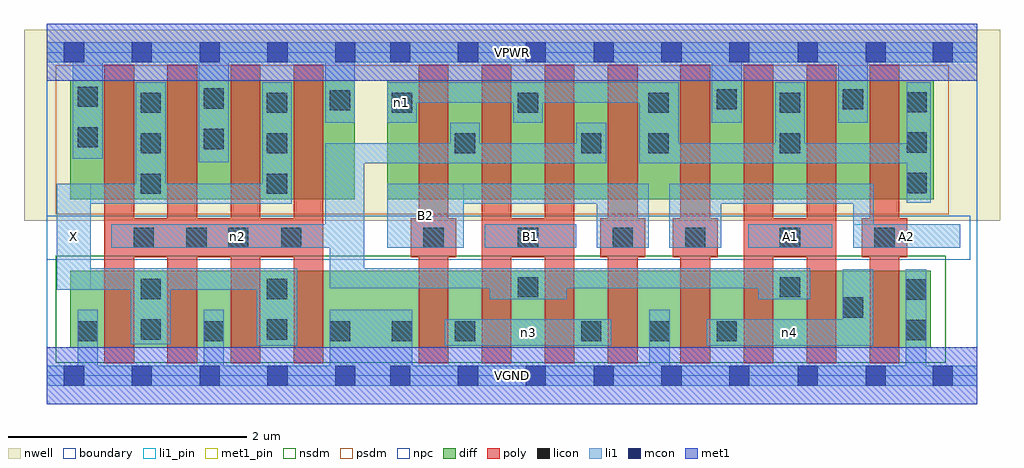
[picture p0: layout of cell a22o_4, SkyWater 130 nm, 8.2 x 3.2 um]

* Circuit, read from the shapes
.subckt a22o_4 A1 A2 B1 B2 VGND VPWR X n1 n2 n3 n4
XM1 X n2 VGND VSUBS sky130_fd_pr__nfet_01v8 w=0.65 l=0.25 m=4
XM2 n3 B2 VGND VSUBS sky130_fd_pr__nfet_01v8 w=0.65 l=0.25 m=2
XM3 n2 B1 n3 VSUBS sky130_fd_pr__nfet_01v8 w=0.65 l=0.25 m=2
XM4 n4 A2 VGND VSUBS sky130_fd_pr__nfet_01v8 w=0.65 l=0.25 m=2
XM5 n2 A1 n4 VSUBS sky130_fd_pr__nfet_01v8 w=0.65 l=0.25 m=2
XM6 X n2 VPWR n5 sky130_fd_pr__pfet_01v8 w=1 l=0.25 m=4
XM7 n2 B2 n1 n5 sky130_fd_pr__pfet_01v8 w=1 l=0.25 m=2
XM8 n1 B1 n2 n5 sky130_fd_pr__pfet_01v8 w=1 l=0.25 m=2
XM9 VPWR A2 n1 n5 sky130_fd_pr__pfet_01v8 w=1 l=0.25 m=2
XM10 n1 A1 VPWR n5 sky130_fd_pr__pfet_01v8 w=1 l=0.25 m=2
.ends

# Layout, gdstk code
import gdstk
lib = gdstk.Library(unit=1e-6, precision=1e-09)
def R(c, l, rs):  # rectangles x0, y0, x1, y1
    for r in rs: c.add(gdstk.rectangle(r[:2], r[2:], *l))
def A(c, l, x, y, w, h, nx, ny, dx, dy):  # array of equal rectangles
    R(c, l, [(x+i*dx, y+j*dy, x+i*dx+w, y+j*dy+h) for i in range(nx) for j in range(ny)])
nwell = (64, 20)
diff = (65, 20)
poly = (66, 20)
licon = (66, 44)
li1_pin = (67, 16)
li1 = (67, 20)
mcon = (67, 44)
met1_pin = (68, 16)
met1 = (68, 20)
nsdm = (93, 44)
psdm = (94, 20)
npc = (95, 20)
boundary = (235, 4)

a22o_4 = lib.new_cell('a22o_4')
R(a22o_4, nwell, [(-0.19,1.305,8.01,2.91), (0,1.305,7.82,2.91)])
R(a22o_4, diff, [(0.2,0.235,7.43,0.885), (0.2,1.485,2.59,2.485), (2.86,1.485,7.455,2.485)])
A(a22o_4, poly, 0.485, 0.105, 0.25, 2.51, 4, 1, 0.53, 0)
A(a22o_4, poly, 3.125, 0.105, 0.25, 2.51, 4, 1, 0.53, 0)
A(a22o_4, poly, 5.325, 0.105, 0.25, 2.51, 4, 1, 0.53, 0)
R(a22o_4, poly, [(0.485,0.995,2.325,1.325), (3.06,0.995,3.44,1.325), (3.655,0.995,4.435,1.325), (4.65,0.995,5.03,1.325), (5.26,0.995,5.64,1.325), (5.855,0.995,6.635,1.325), (6.85,0.995,7.23,1.325)])
A(a22o_4, licon, 0.26, 0.29, 0.17, 0.17, 3, 1, 1.06, 0)
A(a22o_4, licon, 3.165, 1.075, 0.17, 0.17, 3, 1, 0.795, 0)
A(a22o_4, licon, 5.365, 1.075, 0.17, 0.17, 3, 1, 0.795, 0)
A(a22o_4, licon, 0.79, 1.53, 0.17, 0.17, 1, 3, 0, 0.34)
A(a22o_4, licon, 1.85, 1.53, 0.17, 0.17, 1, 3, 0, 0.34)
A(a22o_4, licon, 7.225, 1.535, 0.17, 0.17, 1, 3, 0, 0.34)
R(a22o_4, licon, [(2.9,0.29,3.07,0.46), (3.43,0.29,3.6,0.46), (4.49,0.29,4.66,0.46), (5.065,0.29,5.235,0.46), (5.63,0.29,5.8,0.46), (7.22,0.3,7.39,0.47), (0.79,0.305,0.96,0.475), (1.85,0.305,2.02,0.475), (6.69,0.49,6.86,0.66), (7.22,0.64,7.39,0.81), (0.79,0.645,0.96,0.815), (1.85,0.645,2.02,0.815), (3.96,0.66,4.13,0.83), (6.16,0.66,6.33,0.83), (0.73,1.075,0.9,1.245), (1.175,1.075,1.345,1.245), (1.525,1.075,1.695,1.245), (1.97,1.075,2.14,1.245), (3.43,1.87,3.6,2.04), (4.49,1.87,4.66,2.04), (5.055,1.87,5.225,2.04), (6.16,1.87,6.33,2.04), (1.32,1.905,1.49,2.075), (0.26,1.92,0.43,2.09), (2.9,2.21,3.07,2.38), (3.96,2.21,4.13,2.38), (5.055,2.21,5.225,2.38), (6.16,2.21,6.33,2.38), (2.38,2.23,2.55,2.4), (5.63,2.24,5.8,2.41), (6.69,2.24,6.86,2.41), (1.32,2.245,1.49,2.415), (0.26,2.26,0.43,2.43)])
R(a22o_4, li1_pin, [(0.085,0.725,0.37,1.615), (2.86,1.075,3.505,1.615), (3.68,1.075,4.45,1.275), (5.895,1.075,6.6,1.275), (6.775,1.075,7.675,1.275)])
R(a22o_4, li1, [(0,-0.085,7.82,0.085), (0.26,-0.085,0.43,0.555), (1.32,-0.085,1.49,0.555), (2.38,-0.085,3.07,0.555), (5.065,-0.085,5.235,0.555), (7.22,-0.085,7.39,0.895), (1.765,0.255,2.105,0.905), (3.345,0.255,4.745,0.475), (5.545,0.255,6.945,0.475), (6.69,0.255,6.945,0.895), (0.705,0.265,1.045,0.905), (3.725,0.645,4.37,0.905), (5.98,0.645,6.415,0.905), (0.085,0.725,2.105,0.905), (0.085,0.725,0.37,1.615), (2.38,0.735,6.415,0.905), (2.38,0.735,2.67,1.955), (0.545,1.075,2.67,1.275), (2.34,1.075,2.67,1.955), (2.86,1.075,3.505,1.615), (3.68,1.075,4.45,1.275), (4.62,1.075,5.06,1.615), (5.23,1.075,5.67,1.615), (5.895,1.075,6.6,1.275), (6.775,1.075,7.675,1.275), (6.775,1.075,6.95,1.615), (0.085,1.445,2.06,1.615), (0.75,1.445,1,2.465), (1.81,1.445,2.06,2.465), (2.86,1.445,5.06,1.615), (5.23,1.445,6.95,1.615), (7.225,1.455,7.43,2.465), (2.34,1.785,4.7,1.955), (3.39,1.785,3.64,2.125), (4.45,1.785,4.7,2.125), (4.98,1.785,7.43,1.955), (4.98,1.785,5.31,2.465), (6.12,1.785,6.37,2.465), (1.28,1.795,1.53,2.805), (0.22,1.825,0.47,2.805), (2.34,2.125,2.59,2.805), (2.86,2.125,3.11,2.465), (3.92,2.125,4.17,2.465), (5.59,2.125,5.84,2.805), (6.65,2.125,6.9,2.805), (2.86,2.295,5.31,2.465), (0,2.635,7.82,2.805)])
A(a22o_4, mcon, 0.145, -0.085, 0.17, 0.17, 5, 2, 0.57, 2.72)
A(a22o_4, mcon, 2.885, -0.085, 0.17, 0.17, 6, 2, 0.57, 2.72)
R(a22o_4, mcon, [(6.31,-0.085,6.48,0.085), (6.88,-0.085,7.05,0.085), (7.445,-0.085,7.615,0.085), (6.31,2.635,6.48,2.805), (6.88,2.635,7.05,2.805), (7.445,2.635,7.615,2.805)])
R(a22o_4, met1_pin, [(0,-0.24,7.82,0.24), (0,2.48,7.82,2.96)])
R(a22o_4, met1, [(0,-0.24,7.82,0.24), (0,2.48,7.82,2.96)])
R(a22o_4, nsdm, [(0.075,0.11,7.555,1.01)])
R(a22o_4, psdm, [(0.075,1.36,7.58,2.61)])
R(a22o_4, npc, [(0,0.975,7.76,1.345)])
R(a22o_4, boundary, [(0,0,7.82,2.72)])
a22o_4.add(gdstk.Label('A1', (6.247,1.175), layer=67, texttype=5))
a22o_4.add(gdstk.Label('A2', (7.225,1.175), layer=67, texttype=5))
a22o_4.add(gdstk.Label('B1', (4.065,1.175), layer=67, texttype=5))
a22o_4.add(gdstk.Label('B2', (3.182,1.345), layer=67, texttype=5))
a22o_4.add(gdstk.Label('X', (0.227,1.17), layer=67, texttype=5))
a22o_4.add(gdstk.Label('n3', (4.045,0.365), layer=67, texttype=5))
a22o_4.add(gdstk.Label('n4', (6.245,0.365), layer=67, texttype=5))
a22o_4.add(gdstk.Label('n2', (1.607,1.175), layer=67, texttype=5))
a22o_4.add(gdstk.Label('n1', (2.985,2.295), layer=67, texttype=5))
a22o_4.add(gdstk.Label('VPWR', (3.91,2.72), layer=68, texttype=5))
a22o_4.add(gdstk.Label('VGND', (3.91,0), layer=68, texttype=5))
a22o_4.add(gdstk.Label('A1', (6.247,1.175), layer=67, texttype=16))
a22o_4.add(gdstk.Label('A2', (7.225,1.175), layer=67, texttype=16))
a22o_4.add(gdstk.Label('B1', (4.065,1.175), layer=67, texttype=16))
a22o_4.add(gdstk.Label('B2', (3.182,1.345), layer=67, texttype=16))
a22o_4.add(gdstk.Label('X', (0.227,1.17), layer=67, texttype=16))
a22o_4.add(gdstk.Label('VPWR', (3.91,2.72), layer=68, texttype=16))
a22o_4.add(gdstk.Label('VGND', (3.91,0), layer=68, texttype=16))

lib.write_gds('a22o_4.gds')
